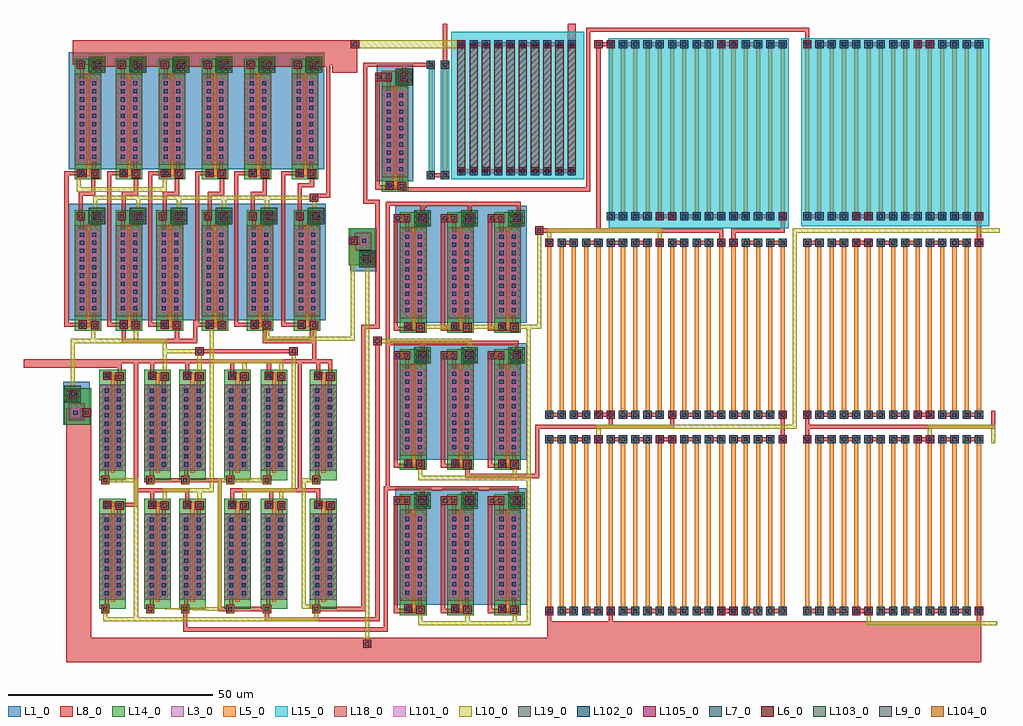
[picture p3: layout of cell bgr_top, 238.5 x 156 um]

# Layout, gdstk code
from math import pi, radians
import gdstk
lib = gdstk.Library(unit=1e-6, precision=1e-09)
def R(c, l, rs):  # rectangles x0, y0, x1, y1
    for r in rs: c.add(gdstk.rectangle(r[:2], r[2:], *l))
L1_0 = (1, 0)
L3_0 = (3, 0)
L5_0 = (5, 0)
L6_0 = (6, 0)
L7_0 = (7, 0)
L8_0 = (8, 0)
L9_0 = (9, 0)
L10_0 = (10, 0)
L14_0 = (14, 0)
L15_0 = (15, 0)
L18_0 = (18, 0)
L19_0 = (19, 0)
L101_0 = (101, 0)
L102_0 = (102, 0)
L103_0 = (103, 0)
L104_0 = (104, 0)
L105_0 = (105, 0)

via = lib.new_cell('Via')
R(via, L8_0, [(-1,-1,1,1)])
R(via, L9_0, [(-0.5,-0.5,0.5,0.5)])
R(via, L10_0, [(-1,-1,1,1)])
R(via, L105_0, [(-1,-1,1,1)])
via.add(gdstk.Label('via', (0,0), layer=13, texttype=0))

dcont = lib.new_cell('dcont')
R(dcont, L3_0, [(-1,-1,1,1)])
R(dcont, L7_0, [(-0.5,-0.5,0.5,0.5)])
R(dcont, L8_0, [(-1,-1,1,1)])
R(dcont, L101_0, [(-1,-1,1,1)])
dcont.add(gdstk.Label('dcont', (0,0), layer=13, texttype=0))

nsubcont = lib.new_cell('nsubcont')
R(nsubcont, L1_0, [(-2,-2,2,2)])
R(nsubcont, L19_0, [(-1.5,-1.5,1.5,1.5)])
R(nsubcont, L103_0, [(-2,-2,2,2)])
nsubcont.add(gdstk.Reference(dcont, (0,0)))
nsubcont.add(gdstk.Label('NScont', (0,0), layer=13, texttype=0))

protection = lib.new_cell('protection')
R(protection, L1_0, [(1.3,21,7.8,31.5)])
R(protection, L14_0, [(1,21,7.5,30)])
R(protection, L18_0, [(2.5,22,6.5,26.3)])
protection.add(gdstk.FlexPath([(2.5,24),(5,24)], 2, ends="extended", simple_path=True, layer=8, datatype=0))  # L8_0
protection.add(gdstk.Reference(via, (5.5,28.5)))
protection.add(gdstk.Reference(nsubcont, (5.5,28.5)))
protection.add(gdstk.Reference(via, (2,24)))
protection.add(gdstk.Reference(dcont, (4.8,24)))
protection.add(gdstk.Label('VDD', (2.8,27.5), layer=13, texttype=0))

pcont = lib.new_cell('pcont')
R(pcont, L5_0, [(-1,-1,1,1)])
R(pcont, L7_0, [(-0.5,-0.5,0.5,0.5)])
R(pcont, L8_0, [(-1,-1,1,1)])
R(pcont, L102_0, [(-1,-1,1,1)])
pcont.add(gdstk.Label('pcont', (0,0), layer=13, texttype=0))

res500 = lib.new_cell('res500')
res500.add(gdstk.FlexPath([(2,26.5),(2,-0.5)], 1, ends="extended", simple_path=True, layer=5, datatype=0))  # L5_0
res500.add(gdstk.Reference(pcont, (2,26.5)))
res500.add(gdstk.Reference(pcont, (2,-0.5)))

pch1x20 = lib.new_cell('pch1x20')
R(pch1x20, L1_0, [(-1.2,3,7.8,31.5)])
R(pch1x20, L3_0, [(0.8,5,5.8,25)])
R(pch1x20, L5_0, [(1.3,1.3,3.8,2.7)])
R(pch1x20, L8_0, [(4,0.8,6,2.8), (1,1,3,3)])
R(pch1x20, L10_0, [(4,0.8,6,2.8), (1,1,3,3)])
R(pch1x20, L14_0, [(0,0.5,6.5,30)])
R(pch1x20, L18_0, [(0,4,6.5,26.3)])
R(pch1x20, L105_0, [(4,0.8,6,2.8), (1,1,3,3)])
pch1x20.add(gdstk.FlexPath([(3.3,26),(3.3,2.8)], 1, ends="extended", simple_path=True, layer=5, datatype=0))  # L5_0
pch1x20.add(gdstk.FlexPath([(4.8,5.5),(4.8,2.3)], 1, ends="extended", simple_path=True, layer=8, datatype=0))  # L8_0
pch1x20.add(gdstk.FlexPath([(4.8,5.8),(4.8,24)], 1.4, ends="extended", simple_path=True, layer=8, datatype=0))  # L8_0
pch1x20.add(gdstk.FlexPath([(1.8,5.8),(1.8,24)], 1.4, ends="extended", simple_path=True, layer=8, datatype=0))  # L8_0
pch1x20.add(gdstk.FlexPath([(1.8,29),(1.8,23.8)], 1, ends="extended", simple_path=True, layer=8, datatype=0))  # L8_0
pch1x20.add(gdstk.Reference(via, (5.5,28.5)))
pch1x20.add(gdstk.Reference(dcont, (4.8,8)))
pch1x20.add(gdstk.Reference(dcont, (4.8,6)))
pch1x20.add(gdstk.Reference(dcont, (1.8,10)))
pch1x20.add(gdstk.Reference(dcont, (1.8,12)))
pch1x20.add(gdstk.Reference(dcont, (4.8,16)))
pch1x20.add(gdstk.Reference(dcont, (4.8,14)))
pch1x20.add(gdstk.Reference(dcont, (1.8,18)))
pch1x20.add(gdstk.Reference(dcont, (1.8,20)))
pch1x20.add(gdstk.Reference(pcont, (2,2)))
pch1x20.add(gdstk.Reference(nsubcont, (5.5,28.5)))
pch1x20.add(gdstk.Reference(via, (2,2)))
pch1x20.add(gdstk.Reference(dcont, (1.8,22)))
pch1x20.add(gdstk.Reference(dcont, (4.8,24)))
pch1x20.add(gdstk.Reference(dcont, (1.8,24)))
pch1x20.add(gdstk.Reference(via, (5,1.8)))
pch1x20.add(gdstk.Reference(dcont, (4.8,22)))
pch1x20.add(gdstk.Reference(via, (1.5,28.5)))
pch1x20.add(gdstk.Reference(dcont, (4.8,18)))
pch1x20.add(gdstk.Reference(dcont, (4.8,20)))
pch1x20.add(gdstk.Reference(dcont, (1.8,16)))
pch1x20.add(gdstk.Reference(dcont, (1.8,14)))
pch1x20.add(gdstk.Reference(dcont, (4.8,10)))
pch1x20.add(gdstk.Reference(dcont, (4.8,12)))
pch1x20.add(gdstk.Reference(dcont, (1.8,8)))
pch1x20.add(gdstk.Reference(dcont, (1.8,6)))
pch1x20.add(gdstk.Label('via', (2,2), layer=13, texttype=0))
pch1x20.add(gdstk.Label('via', (5,1.8), layer=13, texttype=0))
pch1x20.add(gdstk.Label('YB', (4.4,11.7), layer=13, texttype=0))
pch1x20.add(gdstk.Label('VDD', (0.3,27.5), layer=13, texttype=0))
pch1x20.add(gdstk.Label('A', (8.5,7.4), layer=13, texttype=0))

pchdiode = lib.new_cell('pchdiode')
pchdiode.add(gdstk.FlexPath([(2,30),(1,30),(1,2.5),(7.5,2.5)], 1, ends="extended", simple_path=True, layer=8, datatype=0))  # L8_0
pchdiode.add(gdstk.Reference(via, (1.5,29.5)))
pchdiode.add(gdstk.Reference(pch1x20, (2,1)))

res4k = lib.new_cell('res4k')
res4k.add(gdstk.FlexPath([(5,2.5),(5,43.5)], 1, ends="extended", simple_path=True, layer=5, datatype=0))  # L5_0
res4k.add(gdstk.FlexPath([(11,2.5),(11,43.5)], 1, ends="extended", simple_path=True, layer=5, datatype=0))  # L5_0
res4k.add(gdstk.FlexPath([(14,2.5),(14,43.5)], 1, ends="extended", simple_path=True, layer=5, datatype=0))  # L5_0
res4k.add(gdstk.FlexPath([(8,2.5),(8,43.5)], 1, ends="extended", simple_path=True, layer=5, datatype=0))  # L5_0
res4k.add(gdstk.FlexPath([(2,2.5),(2,43.5)], 1, ends="extended", simple_path=True, layer=5, datatype=0))  # L5_0
res4k.add(gdstk.FlexPath([(8,44),(11,44)], 1, ends="extended", simple_path=True, layer=8, datatype=0))  # L8_0
res4k.add(gdstk.FlexPath([(11,2),(14,2),(14,1.5)], 1, ends="extended", simple_path=True, layer=8, datatype=0))  # L8_0
res4k.add(gdstk.FlexPath([(5,2),(8,2)], 1, ends="extended", simple_path=True, layer=8, datatype=0))  # L8_0
res4k.add(gdstk.FlexPath([(2,44),(5,44)], 1, ends="extended", simple_path=True, layer=8, datatype=0))  # L8_0
res4k.add(gdstk.Reference(via, (2,2), rotation=pi/2))
res4k.add(gdstk.Reference(pcont, (2,2), rotation=pi/2))
res4k.add(gdstk.Reference(pcont, (8,44), rotation=pi/2))
res4k.add(gdstk.Reference(pcont, (5,2), rotation=pi/2))
res4k.add(gdstk.Reference(pcont, (11,2), rotation=pi/2))
res4k.add(gdstk.Reference(pcont, (14,2), rotation=pi/2))
res4k.add(gdstk.Reference(pcont, (14,44), rotation=pi/2))
res4k.add(gdstk.Reference(pcont, (11,44), rotation=pi/2))
res4k.add(gdstk.Reference(pcont, (8,2), rotation=pi/2))
res4k.add(gdstk.Reference(pcont, (5,44), rotation=pi/2))
res4k.add(gdstk.Reference(pcont, (2,44), rotation=pi/2))
res4k.add(gdstk.Reference(via, (14,44), rotation=pi/2))

pchblock = lib.new_cell('pchblock')
R(pchblock, L1_0, [(13.5,4,76,32.5), (13.5,41,76,69.5)])
pchblock.add(gdstk.FlexPath([(44.5,3.5),(44.5,-1),(40,-1)], 1, ends="extended", simple_path=True, layer=8, datatype=0))  # L8_0
pchblock.add(gdstk.FlexPath([(40,3),(40,-1),(27,-1),(27,3),(26,3)], 1, ends="extended", simple_path=True, layer=8, datatype=0))  # L8_0
pchblock.add(gdstk.FlexPath([(19.5,39.5),(19.5,35),(16.5,35),(16.5,29.5)], 1, ends="extended", simple_path=True, layer=8, datatype=0))  # L8_0
pchblock.add(gdstk.FlexPath([(30,39.5),(30,35),(27,35),(27,29.5)], 1, ends="extended", simple_path=True, layer=8, datatype=0))  # L8_0
pchblock.add(gdstk.FlexPath([(40,39.5),(40,35),(37,35),(37,29.5)], 1, ends="extended", simple_path=True, layer=8, datatype=0))  # L8_0
pchblock.add(gdstk.FlexPath([(51,39.5),(51,35),(48,35),(48,29.5)], 1, ends="extended", simple_path=True, layer=8, datatype=0))  # L8_0
pchblock.add(gdstk.FlexPath([(61.5,39.5),(61.5,35),(58.5,35),(58.5,29.5)], 1, ends="extended", simple_path=True, layer=8, datatype=0))  # L8_0
pchblock.add(gdstk.FlexPath([(58.5,40),(54.5,40),(54.5,3),(58.5,3)], 1, ends="extended", simple_path=True, layer=8, datatype=0))  # L8_0
pchblock.add(gdstk.FlexPath([(70,40),(66,40),(66,3),(70,3)], 1, ends="extended", simple_path=True, layer=8, datatype=0))  # L8_0
pchblock.add(gdstk.FlexPath([(48.5,40),(45,40),(45,3),(51.5,3)], 1, ends="extended", simple_path=True, layer=8, datatype=0))  # L8_0
pchblock.add(gdstk.FlexPath([(37.5,40),(33.5,40),(33.5,3),(37.5,3)], 1, ends="extended", simple_path=True, layer=8, datatype=0))  # L8_0
pchblock.add(gdstk.FlexPath([(27.5,40),(23.5,40),(23.5,3),(27.5,3)], 1, ends="extended", simple_path=True, layer=8, datatype=0))  # L8_0
pchblock.add(gdstk.FlexPath([(17,40),(13,40),(13,3),(19.5,3)], 1, ends="extended", simple_path=True, layer=8, datatype=0))  # L8_0
pchblock.add(gdstk.FlexPath([(73,39.5),(73,37),(70,37),(70,29.5)], 1, ends="extended", simple_path=True, layer=8, datatype=0))  # L8_0
pchblock.add(gdstk.FlexPath([(73,3.5),(73,-1),(61.5,-1),(61.5,3)], 1, ends="extended", simple_path=True, layer=8, datatype=0))  # L8_0
pchblock.add(gdstk.FlexPath([(19,66.5),(77,66.5),(77,34.5),(73.5,34.5)], 1, ends="extended", simple_path=True, layer=8, datatype=0))  # L8_0
pchblock.add(gdstk.FlexPath([(30,3),(30,-1),(19.5,-1),(19.5,2.5)], 1, ends="extended", simple_path=True, layer=10, datatype=0))  # L10_0
pchblock.add(gdstk.FlexPath([(51.5,29.5),(51.5,33.5)], 1, ends="extended", simple_path=True, layer=10, datatype=0))  # L10_0
pchblock.add(gdstk.FlexPath([(30.5,29.5),(30.5,33.5)], 1, ends="extended", simple_path=True, layer=10, datatype=0))  # L10_0
pchblock.add(gdstk.FlexPath([(16,40),(16,36),(37,36),(37,40)], 1, ends="extended", simple_path=True, layer=10, datatype=0))  # L10_0
pchblock.add(gdstk.FlexPath([(73.5,30),(73.5,34),(20,34),(20,30)], 1, ends="extended", simple_path=True, layer=10, datatype=0))  # L10_0
pchblock.add(gdstk.FlexPath([(40.5,29.5),(40.5,33.5)], 1, ends="extended", simple_path=True, layer=10, datatype=0))  # L10_0
pchblock.add(gdstk.FlexPath([(62,29.5),(62,33.5)], 1, ends="extended", simple_path=True, layer=10, datatype=0))  # L10_0
pchblock.add(gdstk.Reference(pch1x20, (35.5,38)))
pchblock.add(gdstk.Reference(pch1x20, (15,1)))
pchblock.add(gdstk.Reference(pch1x20, (25,1)))
pchblock.add(gdstk.Reference(pch1x20, (68.5,1)))
pchblock.add(gdstk.Reference(via, (73.5,34)))
pchblock.add(gdstk.Reference(via, (16.5,40)))
pchblock.add(gdstk.Reference(via, (37,40)))
pchblock.add(gdstk.Reference(pch1x20, (57,1)))
pchblock.add(gdstk.Reference(pch1x20, (46,1)))
pchblock.add(gdstk.Reference(pch1x20, (35,1)))
pchblock.add(gdstk.Reference(pch1x20, (68,38)))
pchblock.add(gdstk.Reference(pch1x20, (56.5,38)))
pchblock.add(gdstk.Reference(pch1x20, (46,38)))
pchblock.add(gdstk.Reference(pch1x20, (25,38)))
pchblock.add(gdstk.Reference(pch1x20, (15,38)))

dioblock = lib.new_cell('dioblock')
R(dioblock, L1_0, [(3.5,3,35.5,31), (3,38.5,35.5,67), (3.5,72,35.5,100.5)])
dioblock.add(gdstk.FlexPath([(10,31.5),(1.5,31.5),(1.5,67),(10.5,67)], 1, ends="extended", simple_path=True, layer=8, datatype=0))  # L8_0
dioblock.add(gdstk.FlexPath([(10,28.5),(10,31.5)], 1, ends="extended", simple_path=True, layer=8, datatype=0))  # L8_0
dioblock.add(gdstk.FlexPath([(21,37.5),(21,34.5),(38,34.5)], 1, ends="extended", simple_path=True, layer=8, datatype=0))  # L8_0
dioblock.add(gdstk.FlexPath([(10.5,31.5),(21.5,31.5),(21.5,28.5)], 1, ends="extended", simple_path=True, layer=8, datatype=0))  # L8_0
dioblock.add(gdstk.FlexPath([(21.5,101),(10,101),(10,97.5)], 1, ends="extended", simple_path=True, layer=8, datatype=0))  # L8_0
dioblock.add(gdstk.FlexPath([(33.5,97.5),(33.5,101),(21.5,101),(21.5,97.5)], 1, ends="extended", simple_path=True, layer=8, datatype=0))  # L8_0
dioblock.add(gdstk.FlexPath([(22,31.5),(33,31.5),(33,28.5)], 1, ends="extended", simple_path=True, layer=8, datatype=0))  # L8_0
dioblock.add(gdstk.FlexPath([(10,64),(10,67),(33,67),(33,63.5),(33,64.5)], 1, ends="extended", simple_path=True, layer=8, datatype=0))  # L8_0
dioblock.add(gdstk.FlexPath([(1.5,66.5),(1.5,101),(10.5,101),(10.5,100.5)], 1, ends="extended", simple_path=True, layer=8, datatype=0))  # L8_0
dioblock.add(gdstk.FlexPath([(6.5,71),(36,71),(36,33.5)], 1, ends="extended", simple_path=True, layer=10, datatype=0))  # L10_0
dioblock.add(gdstk.FlexPath([(21,1.5),(21,-1)], 1, ends="extended", simple_path=True, layer=10, datatype=0))  # L10_0
dioblock.add(gdstk.FlexPath([(21.5,64),(21.5,67.5),(0,67.5)], 1, ends="extended", simple_path=True, layer=10, datatype=0))  # L10_0
dioblock.add(gdstk.FlexPath([(9.5,2),(9.5,-1.5),(36,-1.5),(36,34),(32.5,34),(32.5,37.5)], 1, ends="extended", simple_path=True, layer=10, datatype=0))  # L10_0
dioblock.add(gdstk.FlexPath([(9.5,37.5),(9.5,34),(32.5,34),(32.5,34.5)], 1, ends="extended", simple_path=True, layer=10, datatype=0))  # L10_0
dioblock.add(gdstk.FlexPath([(32.5,1.5),(32.5,-1)], 1, ends="extended", simple_path=True, layer=10, datatype=0))  # L10_0
dioblock.add(gdstk.Reference(pchdiode, (2.5,68)))
dioblock.add(gdstk.Reference(pchdiode, (2.5,34.5)))
dioblock.add(gdstk.Reference(pchdiode, (14,-1)))
dioblock.add(gdstk.Reference(pchdiode, (2.5,-1)))
dioblock.add(gdstk.Reference(pchdiode, (14,34.5)))
dioblock.add(gdstk.Reference(pchdiode, (14,68)))
dioblock.add(gdstk.Reference(pchdiode, (25.5,68)))
dioblock.add(gdstk.Reference(pchdiode, (25.5,34.5)))
dioblock.add(gdstk.Reference(pchdiode, (25.5,-1)))

psubcont = lib.new_cell('psubcont')
R(psubcont, L104_0, [(-1,-1,1,1)])
psubcont.add(gdstk.Reference(dcont, (0,0)))
psubcont.add(gdstk.Label('PScon', (0,0), layer=13, texttype=0))

nch1x20 = lib.new_cell('nch1x20')
R(nch1x20, L3_0, [(0.8,2.8,5.8,22.8)])
R(nch1x20, L5_0, [(1.3,24.8,3.8,26.2)])
R(nch1x20, L8_0, [(4,24.3,6,26.3), (1,24.5,3,26.5)])
R(nch1x20, L10_0, [(4,24.3,6,26.3), (1,24.5,3,26.5)])
R(nch1x20, L14_0, [(0,0,6.5,27)])
R(nch1x20, L19_0, [(0,2.3,6.5,23.3)])
R(nch1x20, L105_0, [(4,24.3,6,26.3), (1,24.5,3,26.5)])
nch1x20.add(gdstk.FlexPath([(3.3,25),(3.3,2.3)], 1, ends="extended", simple_path=True, layer=5, datatype=0))  # L5_0
nch1x20.add(gdstk.FlexPath([(4.8,25),(4.8,3.3)], 1, ends="extended", simple_path=True, layer=8, datatype=0))  # L8_0
nch1x20.add(gdstk.FlexPath([(1.8,0.5),(1.8,22.3)], 1, ends="extended", simple_path=True, layer=8, datatype=0))  # L8_0
nch1x20.add(gdstk.Reference(dcont, (1.8,21.8)))
nch1x20.add(gdstk.Reference(dcont, (4.8,19.8)))
nch1x20.add(gdstk.Reference(dcont, (1.8,17.8)))
nch1x20.add(gdstk.Reference(dcont, (4.8,15.8)))
nch1x20.add(gdstk.Reference(dcont, (1.8,13.8)))
nch1x20.add(gdstk.Reference(dcont, (4.8,11.8)))
nch1x20.add(gdstk.Reference(dcont, (1.8,9.8)))
nch1x20.add(gdstk.Reference(dcont, (4.8,7.8)))
nch1x20.add(gdstk.Reference(dcont, (1.8,5.8)))
nch1x20.add(gdstk.Reference(psubcont, (1.5,0)))
nch1x20.add(gdstk.Reference(dcont, (1.8,3.8)))
nch1x20.add(gdstk.Reference(dcont, (4.8,3.8)))
nch1x20.add(gdstk.Reference(via, (2,25.5)))
nch1x20.add(gdstk.Reference(pcont, (2,25.5)))
nch1x20.add(gdstk.Reference(via, (5,25.3)))
nch1x20.add(gdstk.Reference(dcont, (4.8,5.8)))
nch1x20.add(gdstk.Reference(dcont, (1.8,7.8)))
nch1x20.add(gdstk.Reference(dcont, (4.8,9.8)))
nch1x20.add(gdstk.Reference(dcont, (1.8,11.8)))
nch1x20.add(gdstk.Reference(dcont, (4.8,13.8)))
nch1x20.add(gdstk.Reference(dcont, (1.8,15.8)))
nch1x20.add(gdstk.Reference(dcont, (4.8,17.8)))
nch1x20.add(gdstk.Reference(dcont, (1.8,19.8)))
nch1x20.add(gdstk.Reference(dcont, (4.8,21.8)))
nch1x20.add(gdstk.Label('via', (2,25.5), layer=13, texttype=0))
nch1x20.add(gdstk.Label('VSS', (0.3,0.5), layer=13, texttype=0))
nch1x20.add(gdstk.Label('A', (2,26.4), layer=13, texttype=0))
nch1x20.add(gdstk.Label('via', (5,25.3), layer=13, texttype=0))

nchblock = lib.new_cell('nchblock')
nchblock.add(gdstk.FlexPath([(14.5,34.5),(32.5,34.5),(32.5,3),(44.5,3)], 1, ends="extended", simple_path=True, layer=8, datatype=0))  # L8_0
nchblock.add(gdstk.FlexPath([(56.5,63.5),(56.5,60)], 1, ends="extended", simple_path=True, layer=8, datatype=0))  # L8_0
nchblock.add(gdstk.FlexPath([(27.5,66),(50,66)], 1, ends="extended", simple_path=True, layer=8, datatype=0))  # L8_0
nchblock.add(gdstk.FlexPath([(52,32.5),(52,63.5)], 1, ends="extended", simple_path=True, layer=8, datatype=0))  # L8_0
nchblock.add(gdstk.FlexPath([(44.5,63.5),(44.5,60)], 1, ends="extended", simple_path=True, layer=8, datatype=0))  # L8_0
nchblock.add(gdstk.FlexPath([(24.5,63.5),(24.5,60)], 1, ends="extended", simple_path=True, layer=8, datatype=0))  # L8_0
nchblock.add(gdstk.FlexPath([(16.5,32),(24.5,32),(24.5,28.5)], 1, ends="extended", simple_path=True, layer=8, datatype=0))  # L8_0
nchblock.add(gdstk.FlexPath([(4.5,59.5),(8,59.5),(8,63.5),(59.5,63.5),(59.5,59.5),(60,59.5)], 1, ends="extended", simple_path=True, layer=8, datatype=0))  # L8_0
nchblock.add(gdstk.FlexPath([(12,32),(16,32),(16,28.5),(18.5,28.5)], 1, ends="extended", simple_path=True, layer=8, datatype=0))  # L8_0
nchblock.add(gdstk.FlexPath([(16,63),(16,59.5)], 1, ends="extended", simple_path=True, layer=8, datatype=0))  # L8_0
nchblock.add(gdstk.FlexPath([(35.5,63.5),(35.5,60)], 1, ends="extended", simple_path=True, layer=8, datatype=0))  # L8_0
nchblock.add(gdstk.FlexPath([(35.5,28.5),(35.5,32),(45,32),(45,28.5)], 1, ends="extended", simple_path=True, layer=8, datatype=0))  # L8_0
nchblock.add(gdstk.FlexPath([(45,32),(56.5,32),(56.5,28.5),(59.5,28.5)], 1, ends="extended", simple_path=True, layer=8, datatype=0))  # L8_0
nchblock.add(gdstk.FlexPath([(5,28.5),(12,28.5),(12,63.5),(11.5,63.5)], 1, ends="extended", simple_path=True, layer=8, datatype=0))  # L8_0
nchblock.add(gdstk.FlexPath([(16,3),(15.5,3),(32.5,3),(32.5,34.5),(44,34.5)], 1, ends="extended", simple_path=True, layer=10, datatype=0))  # L10_0
nchblock.add(gdstk.FlexPath([(38.5,28.5),(38.5,32),(47.5,32),(47.5,28.5)], 1, ends="extended", simple_path=True, layer=10, datatype=0))  # L10_0
nchblock.add(gdstk.FlexPath([(36,63.5),(47.5,63.5),(47.5,60.5)], 1, ends="extended", simple_path=True, layer=10, datatype=0))  # L10_0
nchblock.add(gdstk.FlexPath([(19,28.5),(19,32),(27.5,32),(27.5,28)], 1, ends="extended", simple_path=True, layer=10, datatype=0))  # L10_0
nchblock.add(gdstk.FlexPath([(19,59.5),(19,66),(27.5,66),(27.5,59.5)], 1, ends="extended", simple_path=True, layer=10, datatype=0))  # L10_0
nchblock.add(gdstk.FlexPath([(5,34.5),(12,34.5),(12,0.5)], 1, ends="extended", simple_path=True, layer=10, datatype=0))  # L10_0
nchblock.add(gdstk.FlexPath([(56.5,34.5),(53,34.5),(53,3.5),(56,3.5)], 1, ends="extended", simple_path=True, layer=10, datatype=0))  # L10_0
nchblock.add(gdstk.FlexPath([(56,3.5),(56,0.5),(4.5,0.5),(4.5,2.5)], 1, ends="extended", simple_path=True, layer=10, datatype=0))  # L10_0
nchblock.add(gdstk.FlexPath([(24.5,32),(30.5,32),(30.5,63.5),(38.5,63.5),(38.5,61)], 1, ends="extended", simple_path=True, layer=10, datatype=0))  # L10_0
nchblock.add(gdstk.FlexPath([(47.5,32),(50.5,32),(50.5,66)], 1, ends="extended", simple_path=True, layer=10, datatype=0))  # L10_0
nchblock.add(gdstk.Reference(nch1x20, (54.5,3)))
nchblock.add(gdstk.Reference(nch1x20, (54.5,34.5)))
nchblock.add(gdstk.Reference(nch1x20, (42.5,3)))
nchblock.add(gdstk.Reference(nch1x20, (3,34.5)))
nchblock.add(gdstk.Reference(via, (50.5,66)))
nchblock.add(gdstk.Reference(via, (44.5,28.5)))
nchblock.add(gdstk.Reference(via, (35.5,28.5)))
nchblock.add(gdstk.Reference(via, (24.5,28.5)))
nchblock.add(gdstk.Reference(via, (16,28.5)))
nchblock.add(gdstk.Reference(via, (27.5,66)))
nchblock.add(gdstk.Reference(nch1x20, (14,34.5)))
nchblock.add(gdstk.Reference(nch1x20, (22.5,34.5)))
nchblock.add(gdstk.Reference(nch1x20, (33.5,34.5)))
nchblock.add(gdstk.Reference(nch1x20, (42.5,34.5)))
nchblock.add(gdstk.Reference(nch1x20, (3,3)))
nchblock.add(gdstk.Reference(nch1x20, (14,3)))
nchblock.add(gdstk.Reference(nch1x20, (22.5,3)))
nchblock.add(gdstk.Reference(nch1x20, (33.5,3)))

res98k = lib.new_cell('res98k')
res98k.add(gdstk.FlexPath([(0,8.5),(29,8.5)], 2, ends="extended", simple_path=True, layer=6, datatype=0))  # L6_0
res98k.add(gdstk.Reference(pcont, (-1,8.5)))
res98k.add(gdstk.Reference(pcont, (30,8.5)))

res980k = lib.new_cell('res980k')
res980k.add(gdstk.FlexPath([(32,12),(32,15)], 1, ends="extended", simple_path=True, layer=8, datatype=0))  # L8_0
res980k.add(gdstk.FlexPath([(32,18),(32,21)], 1, ends="extended", simple_path=True, layer=8, datatype=0))  # L8_0
res980k.add(gdstk.FlexPath([(32,24),(32,27)], 1, ends="extended", simple_path=True, layer=8, datatype=0))  # L8_0
res980k.add(gdstk.FlexPath([(32,30),(32,33)], 1, ends="extended", simple_path=True, layer=8, datatype=0))  # L8_0
res980k.add(gdstk.FlexPath([(32,36),(32,39)], 1, ends="extended", simple_path=True, layer=8, datatype=0))  # L8_0
res980k.add(gdstk.FlexPath([(1,33),(1,36)], 1, ends="extended", simple_path=True, layer=8, datatype=0))  # L8_0
res980k.add(gdstk.FlexPath([(1,27),(1,30)], 1, ends="extended", simple_path=True, layer=8, datatype=0))  # L8_0
res980k.add(gdstk.FlexPath([(1,21),(1,24)], 1, ends="extended", simple_path=True, layer=8, datatype=0))  # L8_0
res980k.add(gdstk.FlexPath([(1,15),(1,18)], 1, ends="extended", simple_path=True, layer=8, datatype=0))  # L8_0
r = gdstk.Reference(res98k, (2,3.5)); r.repetition = gdstk.Repetition(1, 10, v1=(0,0), v2=(0,3)); res980k.add(r)

bgr_top = lib.new_cell('bgr_top')
R(bgr_top, L8_0, [(118.5,-6.5,224.5,3.5)])
R(bgr_top, L15_0, [(133.5,99.5,177.5,146), (180.5,100,226.5,146), (95,111.5,127.5,147.5), (89.5,113.5,91,138.5), (92.5,113.5,94.5,138.5)])
bgr_top.add(gdstk.FlexPath([(13.5,66.5),(-8.5,66.5)], 2, ends="extended", simple_path=True, layer=8, datatype=0))  # L8_0
bgr_top.add(gdstk.FlexPath([(124.5,144.5),(124.5,148.5)], 2, ends="extended", simple_path=True, layer=8, datatype=0))  # L8_0
bgr_top.add(gdstk.FlexPath([(93.5,139.5),(93.5,149)], 1, ends="extended", simple_path=True, layer=8, datatype=0))  # L8_0
bgr_top.add(gdstk.FlexPath([(182,51),(227.5,51),(227.5,54.5)], 1, ends="extended", simple_path=True, layer=8, datatype=0))  # L8_0
bgr_top.add(gdstk.FlexPath([(119,6.5),(119,3),(224,3),(224,6)], 1, ends="extended", simple_path=True, layer=8, datatype=0))  # L8_0
bgr_top.add(gdstk.FlexPath([(182,54),(182,48.5)], 1, ends="extended", simple_path=True, layer=8, datatype=0))  # L8_0
bgr_top.add(gdstk.FlexPath([(197,96),(194,96),(194,95.5)], 1, ends="extended", simple_path=True, layer=8, datatype=0))  # L8_0
bgr_top.add(gdstk.FlexPath([(83.5,109),(128.5,109),(128.5,148),(182,148),(182,144)], 1, ends="extended", simple_path=True, layer=8, datatype=0))  # L8_0
bgr_top.add(gdstk.FlexPath([(30,6.5),(30,1.5),(79,1.5),(79,36)], 1, ends="extended", simple_path=True, layer=8, datatype=0))  # L8_0
bgr_top.add(gdstk.FlexPath([(194,48),(194.5,48)], 1, ends="extended", simple_path=True, layer=8, datatype=0))  # L8_0
bgr_top.add(gdstk.FlexPath([(197,102.5),(194.5,102.5)], 1, ends="extended", simple_path=True, layer=8, datatype=0))  # L8_0
bgr_top.add(gdstk.FlexPath([(134,144.5),(131,144.5),(131,144)], 1, ends="extended", simple_path=True, layer=8, datatype=0))  # L8_0
bgr_top.add(gdstk.FlexPath([(134,51),(134,54)], 1, ends="extended", simple_path=True, layer=8, datatype=0))  # L8_0
bgr_top.add(gdstk.FlexPath([(116.5,99),(161,99),(161,96)], 1, ends="extended", simple_path=True, layer=8, datatype=0))  # L8_0
bgr_top.add(gdstk.FlexPath([(149,54),(149,51),(116,51),(116,39)], 1, ends="extended", simple_path=True, layer=8, datatype=0))  # L8_0
bgr_top.add(gdstk.FlexPath([(149,102.5),(146.5,102.5)], 1, ends="extended", simple_path=True, layer=8, datatype=0))  # L8_0
bgr_top.add(gdstk.FlexPath([(164,144.5),(161,144.5)], 1, ends="extended", simple_path=True, layer=8, datatype=0))  # L8_0
bgr_top.add(gdstk.FlexPath([(176,54),(176,48)], 1, ends="extended", simple_path=True, layer=8, datatype=0))  # L8_0
bgr_top.add(gdstk.FlexPath([(146,48),(149,48)], 1, ends="extended", simple_path=True, layer=8, datatype=0))  # L8_0
bgr_top.add(gdstk.FlexPath([(72,72),(72,68.5),(75,68.5)], 0, ends="flush", simple_path=True, layer=8, datatype=0))  # L8_0
bgr_top.add(gdstk.FlexPath([(146,48),(146.5,48)], 1, ends="extended", simple_path=True, layer=8, datatype=0))  # L8_0
bgr_top.add(gdstk.FlexPath([(161,6),(164.5,6)], 1, ends="extended", simple_path=True, layer=8, datatype=0))  # L8_0
bgr_top.add(gdstk.FlexPath([(164,96),(164,99),(176,99),(176,102.5)], 1, ends="extended", simple_path=True, layer=8, datatype=0))  # L8_0
bgr_top.add(gdstk.FlexPath([(131,54),(134.5,54)], 1, ends="extended", simple_path=True, layer=8, datatype=0))  # L8_0
bgr_top.add(gdstk.FlexPath([(131,144.5),(131,99)], 1, ends="extended", simple_path=True, layer=8, datatype=0))  # L8_0
bgr_top.add(gdstk.FlexPath([(212,144.5),(209,144.5)], 1, ends="extended", simple_path=True, layer=8, datatype=0))  # L8_0
bgr_top.add(gdstk.FlexPath([(77,72),(77,4),(50,4),(50,6.5)], 1, ends="extended", simple_path=True, layer=8, datatype=0))  # L8_0
bgr_top.add(gdstk.FlexPath([(224,102.5),(224,95.5)], 1, ends="extended", simple_path=True, layer=8, datatype=0))  # L8_0
bgr_top.add(gdstk.FlexPath([(212,54),(209,54)], 1, ends="extended", simple_path=True, layer=8, datatype=0))  # L8_0
bgr_top.add(gdstk.FlexPath([(194,6),(197.5,6),(197.5,6.5)], 1, ends="extended", simple_path=True, layer=8, datatype=0))  # L8_0
bgr_top.add(gdstk.FlexPath([(209,48),(212.5,48)], 1, ends="extended", simple_path=True, layer=8, datatype=0))  # L8_0
bgr_top.add(gdstk.FlexPath([(134,6),(134,3)], 1, ends="extended", simple_path=True, layer=8, datatype=0))  # L8_0
bgr_top.add(gdstk.FlexPath([(5.5,142.5),(69,142.5),(69,140.5)], 6, ends="extended", simple_path=True, layer=8, datatype=0))  # L8_0
bgr_top.add(gdstk.FlexPath([(83.5,136.5),(83.5,139.5),(90,139.5)], 1, ends="extended", simple_path=True, layer=8, datatype=0))  # L8_0
bgr_top.add(gdstk.FlexPath([(90.5,112.5),(93.5,112.5)], 1, ends="extended", simple_path=True, layer=8, datatype=0))  # L8_0
bgr_top.add(gdstk.FlexPath([(118.5,-3.5),(4,-3.5),(4,52.5)], 6, ends="extended", simple_path=True, layer=8, datatype=0))  # L8_0
bgr_top.add(gdstk.FlexPath([(61.5,6.5),(73.5,6.5),(73.5,75.5),(77,75.5),(77,106),(74,106),(74,139.5),(88,139.5)], 1, ends="extended", simple_path=True, layer=8, datatype=0))  # L8_0
bgr_top.add(gdstk.FlexPath([(45.5,76),(49.5,76)], 1, ends="extended", simple_path=True, layer=8, datatype=0))  # L8_0
bgr_top.add(gdstk.FlexPath([(61.5,72.5),(61.5,67)], 1, ends="extended", simple_path=True, layer=8, datatype=0))  # L8_0
bgr_top.add(gdstk.FlexPath([(50,75.5),(50,72.5),(62,72.5)], 1, ends="extended", simple_path=True, layer=10, datatype=0))  # L10_0
bgr_top.add(gdstk.FlexPath([(74.5,92),(74.5,-2)], 1, ends="extended", simple_path=True, layer=10, datatype=0))  # L10_0
bgr_top.add(gdstk.FlexPath([(72,144.5),(97,144.5)], 2, ends="extended", simple_path=True, layer=10, datatype=0))  # L10_0
bgr_top.add(gdstk.FlexPath([(212,48.5),(212,51),(227.5,51),(227.5,47.5)], 1, ends="extended", simple_path=True, layer=10, datatype=0))  # L10_0
bgr_top.add(gdstk.FlexPath([(18,72),(25,72),(25,69.5)], 1, ends="extended", simple_path=True, layer=10, datatype=0))  # L10_0
bgr_top.add(gdstk.FlexPath([(36.5,76),(36.5,67)], 1, ends="extended", simple_path=True, layer=10, datatype=0))  # L10_0
bgr_top.add(gdstk.FlexPath([(116.5,98.5),(116.5,75.5),(114,75.5)], 1, ends="extended", simple_path=True, layer=10, datatype=0))  # L10_0
bgr_top.add(gdstk.FlexPath([(119,96),(119,99),(146,99),(146,96.5)], 1, ends="extended", simple_path=True, layer=10, datatype=0))  # L10_0
bgr_top.add(gdstk.FlexPath([(131,48),(131,51),(179,51),(179,99),(228.5,99)], 1, ends="extended", simple_path=True, layer=10, datatype=0))  # L10_0
bgr_top.add(gdstk.FlexPath([(197,6),(197,3),(228,3)], 1, ends="extended", simple_path=True, layer=10, datatype=0))  # L10_0
bgr_top.add(gdstk.FlexPath([(71,96.5),(71,72.5),(61.5,72.5),(61.5,76)], 1, ends="extended", simple_path=True, layer=10, datatype=0))  # L10_0
bgr_top.add(gdstk.FlexPath([(14,72),(2.5,72),(2.5,59.5)], 1, ends="extended", simple_path=True, layer=10, datatype=0))  # L10_0
bgr_top.add(gdstk.Reference(protection, (8,30.5), rotation=pi, x_reflection=True))
bgr_top.add(gdstk.Reference(via, (71.5,144.5)))
bgr_top.add(gdstk.Reference(res500, (91.5,113)))
bgr_top.add(gdstk.Reference(via, (197,6)))
bgr_top.add(gdstk.Reference(pchdiode, (76,107)))
bgr_top.add(gdstk.Reference(via, (182,54)))
bgr_top.add(gdstk.Reference(res4k, (226,100.5), rotation=pi, x_reflection=True))
bgr_top.add(gdstk.Reference(res4k, (196,4), rotation=pi, x_reflection=True))
bgr_top.add(gdstk.Reference(res4k, (180,52)))
bgr_top.add(gdstk.Reference(res4k, (195,4)))
bgr_top.add(gdstk.Reference(res4k, (226,4), rotation=pi, x_reflection=True))
bgr_top.add(gdstk.Reference(via, (131,144.5)))
bgr_top.add(gdstk.Reference(via, (119,96)))
bgr_top.add(gdstk.Reference(via, (146,96)))
bgr_top.add(gdstk.Reference(via, (116.5,99)))
bgr_top.add(gdstk.Reference(res4k, (133,52), rotation=pi, x_reflection=True))
bgr_top.add(gdstk.Reference(res4k, (117,4)))
bgr_top.add(gdstk.Reference(res4k, (162,4)))
bgr_top.add(gdstk.Reference(res4k, (178,52), rotation=pi, x_reflection=True))
bgr_top.add(gdstk.Reference(res4k, (163,4), rotation=pi, x_reflection=True))
bgr_top.add(gdstk.Reference(res4k, (147,52)))
bgr_top.add(gdstk.Reference(res4k, (132,52)))
bgr_top.add(gdstk.Reference(res4k, (148,100.5), rotation=pi, x_reflection=True))
bgr_top.add(gdstk.Reference(res4k, (132,4)))
bgr_top.add(gdstk.Reference(pchblock, (-12,73)))
bgr_top.add(gdstk.Reference(dioblock, (78,4.5)))
bgr_top.add(gdstk.Reference(nchblock, (6,3.5)))
bgr_top.add(gdstk.Reference(res4k, (147,100.5)))
bgr_top.add(gdstk.Reference(res4k, (178,100.5), rotation=pi, x_reflection=True))
bgr_top.add(gdstk.Reference(via, (131,54)))
bgr_top.add(gdstk.Reference(via, (134,54)))
bgr_top.add(gdstk.Reference(via, (194,96)))
bgr_top.add(gdstk.Reference(res4k, (210,52)))
bgr_top.add(gdstk.Reference(res4k, (211,52), rotation=pi, x_reflection=True))
bgr_top.add(gdstk.Reference(res4k, (196,100.5), rotation=pi, x_reflection=True))
bgr_top.add(gdstk.Reference(res4k, (195,100.5)))
bgr_top.add(gdstk.Reference(via, (77,72)))
bgr_top.add(gdstk.Reference(via, (212,48)))
bgr_top.add(gdstk.Reference(res980k, (136.5,145.5), rotation=3*pi/2, x_reflection=True))
bgr_top.add(gdstk.Reference(res500, (88,113)))
bgr_top.add(gdstk.Reference(via, (97.5,144.5)))
bgr_top.add(gdstk.Reference(protection, (69,120.5), x_reflection=True))
bgr_top.add(gdstk.Reference(via, (74.5,-2)))

lib.write_gds('bgr_top.gds')
